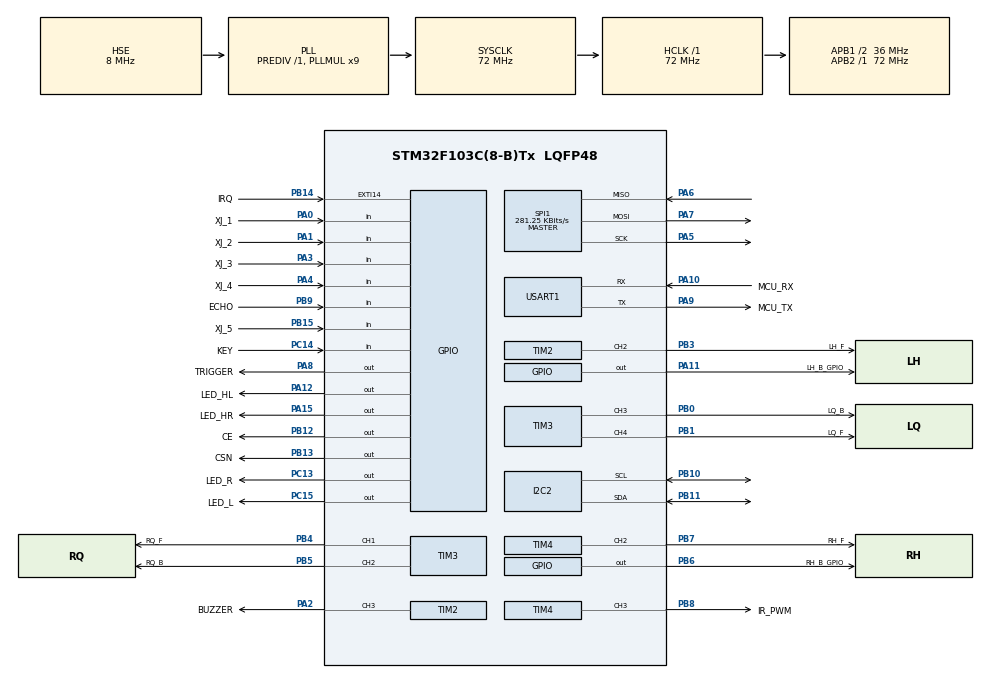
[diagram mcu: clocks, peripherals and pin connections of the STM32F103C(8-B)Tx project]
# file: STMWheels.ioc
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FREERTOS.Queues01=Barrierdistance,1,uint16_t,0,Dynamic,NULL,NULL;TrackingStatus,5,uint16_t,0,Dynamic,NULL,NULL
FREERTOS.Tasks01=CommandTask,0,128,StartCommandTask,Default,NULL,Dynamic,NULL,NULL;ChassisTask,-3,128,StartChassisTask,Default,NULL,Dynamic,NULL,NULL;SensorTask,-3,128,StartSensorTask,Default,NULL,Dynamic,NULL,NULL
Mcu.Family=STM32F1
Mcu.Name=STM32F103C(8-B)Tx
Mcu.Package=LQFP48
NVIC.PriorityGroup=NVIC_PRIORITYGROUP_4
NVIC.TIM1_UP_IRQn=true\:15\:0\:false\:false\:true\:false\:false\:true\:true
NVIC.TimeBase=TIM1_UP_IRQn
NVIC.TimeBaseIP=TIM1
PA0-WKUP.GPIO_Label=XJ_1
PA0-WKUP.Signal=GPIO_Input
PA1.GPIO_Label=XJ_2
PA1.Signal=GPIO_Input
PA10.GPIO_Label=MCU_RX
PA10.Mode=Asynchronous
PA10.Signal=USART1_RX
PA11.GPIO_Label=LH_B_GPIO
PA11.Signal=GPIO_Output
PA12.GPIO_Label=LED_HL
PA12.Signal=GPIO_Output
PA13.Mode=Serial_Wire
PA13.Signal=SYS_JTMS-SWDIO
PA14.Mode=Serial_Wire
PA14.Signal=SYS_JTCK-SWCLK
PA15.GPIO_Label=LED_HR
PA15.Signal=GPIO_Output
PA2.GPIO_Label=BUZZER
PA2.GPIO_Speed=GPIO_SPEED_FREQ_HIGH
PA2.Signal=S_TIM2_CH3
PA3.GPIO_Label=XJ_3
PA3.Signal=GPIO_Input
PA4.GPIO_Label=XJ_4
PA4.Signal=GPIO_Input
PA5.Mode=Full_Duplex_Master
PA5.Signal=SPI1_SCK
PA6.Mode=Full_Duplex_Master
PA6.Signal=SPI1_MISO
PA7.Mode=Full_Duplex_Master
PA7.Signal=SPI1_MOSI
PA8.GPIO_Label=TRIGGER
PA8.Signal=GPIO_Output
PA9.GPIO_Label=MCU_TX
PA9.Mode=Asynchronous
PA9.Signal=USART1_TX
PB0.GPIO_Label=LQ_B
PB0.Signal=S_TIM3_CH3
PB1.GPIO_Label=LQ_F
PB1.Signal=S_TIM3_CH4
PB10.Mode=I2C
PB10.Signal=I2C2_SCL
PB11.Mode=I2C
PB11.Signal=I2C2_SDA
PB12.GPIO_Label=CE
PB12.Signal=GPIO_Output
PB13.GPIO_Label=CSN
PB13.Signal=GPIO_Output
PB14.GPIO_Label=IRQ
PB14.Signal=GPXTI14
PB15.GPIO_Label=XJ_5
PB15.Signal=GPIO_Input
PB3.GPIO_Label=LH_F
PB3.Signal=S_TIM2_CH2
PB4.GPIO_Label=RQ_F
PB4.Signal=S_TIM3_CH1
PB5.GPIO_Label=RQ_B
PB5.Signal=S_TIM3_CH2
PB6.GPIO_Label=RH_B_GPIO
PB6.Signal=GPIO_Output
PB7.GPIO_Label=RH_F
PB7.Signal=S_TIM4_CH2
PB8.GPIO_Label=IR_PWM
PB8.Signal=S_TIM4_CH3
PB9.GPIO_Label=ECHO
PB9.Signal=GPIO_Input
PC13-TAMPER-RTC.GPIO_Label=LED_R
PC13-TAMPER-RTC.Signal=GPIO_Output
PC14-OSC32_IN.GPIO_Label=KEY
PC14-OSC32_IN.GPIO_PuPd=GPIO_PULLUP
PC14-OSC32_IN.Signal=GPIO_Input
PC15-OSC32_OUT.GPIO_Label=LED_L
PC15-OSC32_OUT.Signal=GPIO_Output
PD0-OSC_IN.Mode=HSE-External-Oscillator
PD0-OSC_IN.Signal=RCC_OSC_IN
PD1-OSC_OUT.Mode=HSE-External-Oscillator
PD1-OSC_OUT.Signal=RCC_OSC_OUT
ProjectManager.HeapSize=0x200
ProjectManager.StackSize=0x400
ProjectManager.TargetToolchain=CMake
RCC.AHBFreq_Value=72000000
RCC.APB1CLKDivider=RCC_HCLK_DIV2
RCC.APB1Freq_Value=36000000
RCC.APB1TimFreq_Value=72000000
RCC.APB2Freq_Value=72000000
RCC.APB2TimFreq_Value=72000000
RCC.HCLKFreq_Value=72000000
RCC.PLLMUL=RCC_PLL_MUL9
RCC.PLLSourceVirtual=RCC_PLLSOURCE_HSE
RCC.SYSCLKFreq_VALUE=72000000
RCC.SYSCLKSource=RCC_SYSCLKSOURCE_PLLCLK
RCC.USBFreq_Value=72000000
SH.S_TIM2_CH2.0=TIM2_CH2,PWM Generation2 CH2
SH.S_TIM2_CH3.0=TIM2_CH3,PWM Generation3 CH3
SH.S_TIM3_CH1.0=TIM3_CH1,PWM Generation1 CH1
SH.S_TIM3_CH2.0=TIM3_CH2,PWM Generation2 CH2
SH.S_TIM3_CH3.0=TIM3_CH3,PWM Generation3 CH3
SH.S_TIM3_CH4.0=TIM3_CH4,PWM Generation4 CH4
SH.S_TIM4_CH2.0=TIM4_CH2,PWM Generation2 CH2
SH.S_TIM4_CH3.0=TIM4_CH3,PWM Generation3 CH3
SPI1.BaudRatePrescaler=SPI_BAUDRATEPRESCALER_256
SPI1.CalculateBaudRate=281.25 KBits/s
SPI1.Direction=SPI_DIRECTION_2LINES
SPI1.Mode=SPI_MODE_MASTER
SPI1.VirtualType=VM_MASTER
TIM2.Channel-PWM\ Generation2\ CH2=TIM_CHANNEL_2
TIM2.Channel-PWM\ Generation3\ CH3=TIM_CHANNEL_3
TIM3.Channel-PWM\ Generation1\ CH1=TIM_CHANNEL_1
TIM3.Channel-PWM\ Generation2\ CH2=TIM_CHANNEL_2
TIM3.Channel-PWM\ Generation3\ CH3=TIM_CHANNEL_3
TIM3.Channel-PWM\ Generation4\ CH4=TIM_CHANNEL_4
TIM4.Channel-PWM\ Generation2\ CH2=TIM_CHANNEL_2
TIM4.Channel-PWM\ Generation3\ CH3=TIM_CHANNEL_3
USART1.VirtualMode=VM_ASYNC
VP_FREERTOS_VS_CMSIS_V1.Mode=CMSIS_V1
VP_SYS_VS_tim1.Mode=TIM1
board=custom

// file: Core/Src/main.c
/* USER CODE BEGIN Header */
/**
  ******************************************************************************
  * @file           : main.c
  * @brief          : Main program body
  ******************************************************************************
  * @attention
  *
  * Copyright (c) 2026 STMicroelectronics.
  * All rights reserved.
  *
  * This software is licensed under terms that can be found in the LICENSE file
  * in the root directory of this software component.
  * If no LICENSE file comes with this software, it is provided AS-IS.
  *
  ******************************************************************************
  */
/* USER CODE END Header */
#include "main.h"
#include "cmsis_os.h"
#include "i2c.h"
#include "spi.h"
#include "tim.h"
#include "usart.h"
#include "gpio.h"

/* USER CODE BEGIN Includes */
#include "RZ7899.h"
#include "CarConfig.h"
/* USER CODE END Includes */

/* USER CODE BEGIN PV */
RZ7899_Handle hMotorLF;
RZ7899_Handle hMotorRF;
RZ7899_Handle hMotorLR;
RZ7899_Handle hMotorRR;
/* USER CODE END PV */

void SystemClock_Config(void);
void MX_FREERTOS_Init(void);

int main(void)
{

  /* MCU Configuration--------------------------------------------------------*/

  /* Reset of all peripherals, Initializes the Flash interface and the Systick. */
  HAL_Init();

  /* Configure the system clock */
  SystemClock_Config();

  /* Initialize all configured peripherals */
  MX_GPIO_Init();
  MX_I2C2_Init();
  MX_SPI1_Init();
  MX_TIM2_Init();
  MX_TIM3_Init();
  MX_TIM4_Init();
  MX_USART1_UART_Init();
  /* USER CODE BEGIN 2 */
  hMotorLF.Config.IN1_Port = LQ_F_GPIO_Port;
  hMotorLF.Config.IN1_Pin = LQ_F_Pin;
  hMotorLF.Config.IN2_Port = LQ_B_GPIO_Port;
  hMotorLF.Config.IN2_Pin = LQ_B_Pin;
  hMotorLF.Config.PwmPin = RZ7899_PWM_BOTH;
  hMotorLF.Config.htim = &htim3;
  hMotorLF.Config.PwmChannel = TIM_CHANNEL_4;
  hMotorLF.Config.PwmChannel2 = TIM_CHANNEL_3;

  hMotorRF.Config.IN1_Port = RQ_F_GPIO_Port;
  hMotorRF.Config.IN1_Pin = RQ_F_Pin;
  hMotorRF.Config.IN2_Port = RQ_B_GPIO_Port;
  hMotorRF.Config.IN2_Pin = RQ_B_Pin;
  hMotorRF.Config.PwmPin = RZ7899_PWM_BOTH;
  hMotorRF.Config.htim = &htim3;
  hMotorRF.Config.PwmChannel = TIM_CHANNEL_1;
  hMotorRF.Config.PwmChannel2 = TIM_CHANNEL_2;

  hMotorLR.Config.IN1_Port = LH_F_GPIO_Port;
  hMotorLR.Config.IN1_Pin = LH_F_Pin;
  hMotorLR.Config.IN2_Port = RH_B_GPIO_GPIO_Port;
  hMotorLR.Config.IN2_Pin = RH_B_GPIO_Pin;
  hMotorLR.Config.PwmPin = RZ7899_PWM_IN1;
  hMotorLR.Config.htim = &htim2;
  hMotorLR.Config.PwmChannel = TIM_CHANNEL_2;

  hMotorRR.Config.IN1_Port = RH_F_GPIO_Port;
  hMotorRR.Config.IN1_Pin = RH_F_Pin;
  hMotorRR.Config.IN2_Port = LH_B_GPIO_GPIO_Port;
  hMotorRR.Config.IN2_Pin = LH_B_GPIO_Pin;
  hMotorRR.Config.PwmPin = RZ7899_PWM_IN1;
  hMotorRR.Config.htim = &htim4;
  hMotorRR.Config.PwmChannel = TIM_CHANNEL_2;

  RZ7899_Init(&hMotorLF);
  RZ7899_Init(&hMotorRF);
  RZ7899_Init(&hMotorLR);
  RZ7899_Init(&hMotorRR);

  HAL_TIM_PWM_Start(&htim4, TIM_CHANNEL_3);
  __HAL_TIM_SET_COMPARE(&htim4, TIM_CHANNEL_3, IR_PWM_PULSE);

  /*
   * PA2 (BUZZER) 在 MX_TIM2_Init 中被配置为 AF_PP (TIM2_CH3)。
   * 此处重配为 GPIO 输出，HIGH 速度确保 SS8050 开关边沿陡峭 →
   * 减少线性区时间 → 更大音量 + 更清晰音色。
   */
  {
    GPIO_InitTypeDef GPIO_Init = {0};
    GPIO_Init.Mode  = GPIO_MODE_OUTPUT_PP;
    GPIO_Init.Speed = GPIO_SPEED_FREQ_HIGH;
    GPIO_Init.Pin   = BUZZER_Pin;
    HAL_GPIO_Init(BUZZER_GPIO_Port, &GPIO_Init);
    HAL_GPIO_WritePin(BUZZER_GPIO_Port, BUZZER_Pin, GPIO_PIN_RESET);
  }

  /* DWT 周期计数器使能 (微秒级定时, 供 SR04 / 蜂鸣器使用) */
  if (!(CoreDebug->DEMCR & CoreDebug_DEMCR_TRCENA_Msk))
  {
    CoreDebug->DEMCR |= CoreDebug_DEMCR_TRCENA_Msk;
    DWT->CYCCNT = 0;
    DWT->CTRL   |= DWT_CTRL_CYCCNTENA_Msk;
  }
  /* USER CODE END 2 */

  /* Call init function for freertos objects (in cmsis_os2.c) */
  MX_FREERTOS_Init();

  /* Start scheduler */
  osKernelStart();

  /* We should never get here as control is now taken by the scheduler */

  /* Infinite loop */
  while (1)
  {

  }
}

void SystemClock_Config(void)
{
  RCC_OscInitTypeDef RCC_OscInitStruct = {0};
  RCC_ClkInitTypeDef RCC_ClkInitStruct = {0};

  /** Initializes the RCC Oscillators according to the specified parameters
  * in the RCC_OscInitTypeDef structure.
  */
  RCC_OscInitStruct.OscillatorType = RCC_OSCILLATORTYPE_HSE;
  RCC_OscInitStruct.HSEState = RCC_HSE_ON;
  RCC_OscInitStruct.HSEPredivValue = RCC_HSE_PREDIV_DIV1;
  RCC_OscInitStruct.HSIState = RCC_HSI_ON;
  RCC_OscInitStruct.PLL.PLLState = RCC_PLL_ON;
  RCC_OscInitStruct.PLL.PLLSource = RCC_PLLSOURCE_HSE;
  RCC_OscInitStruct.PLL.PLLMUL = RCC_PLL_MUL9;
  if (HAL_RCC_OscConfig(&RCC_OscInitStruct) != HAL_OK)
  {
    Error_Handler();
  }

  /** Initializes the CPU, AHB and APB buses clocks
  */
  RCC_ClkInitStruct.ClockType = RCC_CLOCKTYPE_HCLK|RCC_CLOCKTYPE_SYSCLK
                              |RCC_CLOCKTYPE_PCLK1|RCC_CLOCKTYPE_PCLK2;
  RCC_ClkInitStruct.SYSCLKSource = RCC_SYSCLKSOURCE_PLLCLK;
  RCC_ClkInitStruct.AHBCLKDivider = RCC_SYSCLK_DIV1;
  RCC_ClkInitStruct.APB1CLKDivider = RCC_HCLK_DIV2;
  RCC_ClkInitStruct.APB2CLKDivider = RCC_HCLK_DIV1;

  if (HAL_RCC_ClockConfig(&RCC_ClkInitStruct, FLASH_LATENCY_2) != HAL_OK)
  {
    Error_Handler();
  }
}

void HAL_TIM_PeriodElapsedCallback(TIM_HandleTypeDef *htim)
{
  if (htim->Instance == TIM1)
  {
    HAL_IncTick();
  }
}

void Error_Handler(void)
{
  __disable_irq();
  while (1)
  {
  }
}

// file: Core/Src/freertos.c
/* USER CODE BEGIN Header */
/**
  ******************************************************************************
  * File Name          : freertos.c
  * Description        : Code for freertos applications
  ******************************************************************************
  * @attention
  *
  * Copyright (c) 2026 STMicroelectronics.
  * All rights reserved.
  *
  * This software is licensed under terms that can be found in the LICENSE file
  * in the root directory of this software component.
  * If no LICENSE file comes with this software, it is provided AS-IS.
  *
  ******************************************************************************
  */
/* USER CODE END Header */

#include "FreeRTOS.h"
#include "task.h"
#include "main.h"
#include "cmsis_os.h"

/* USER CODE BEGIN Includes */
#include "RZ7899.h"
#include "CarConfig.h"
#include "oled_ssd1306.h"
/* USER CODE END Includes */

/* USER CODE BEGIN PTD */
typedef struct {
    uint16_t freq;     /* 音符频率 (Hz), 0 = 休止符 */
    uint16_t dur_ms;   /* 音符时长 (ms)             */
} MelodyNote;
/* USER CODE END PTD */

/* USER CODE BEGIN PD */
#define MELODY_NOTE_COUNT 42
/* USER CODE END PD */

/* USER CODE BEGIN Variables */
extern RZ7899_Handle hMotorLF;
extern RZ7899_Handle hMotorRF;
extern RZ7899_Handle hMotorLR;
extern RZ7899_Handle hMotorRR;
extern TIM_HandleTypeDef htim4;   /* 供 Calib_SetPWM 使用 */
extern I2C_HandleTypeDef hi2c2;   /* 供 OLED 使用            */

typedef enum {
    STATE_DISABLED = 0,
    STATE_CALIBRATING,    /* 上电自校准                        */
    STATE_CAL_FAILED,     /* 校准失败 → LED 频闪               */
    STATE_ENABLED
} SystemState;

typedef enum {
    DRIVE_STOP = 0,
    DRIVE_FORWARD,
    DRIVE_LEFT,
    DRIVE_RIGHT
} DriveDirection;

/* CommandTask → ChassisTask 驱动指令 (单次写入, 仅 ChassisTask 读取) */
typedef struct {
    DriveDirection dir;
    uint8_t lfSpeed, lrSpeed, rfSpeed, rrSpeed;
} DriveCommand;

volatile SystemState  g_SystemEnabled   = STATE_DISABLED;
volatile DriveCommand g_DriveCmd        = {DRIVE_STOP, 0, 0, 0, 0};
volatile uint16_t     g_BarrierDistance = 0;
volatile uint16_t     g_TrackSensors    = 0;  /* 最新循迹位图 (供 OLED) */
volatile uint32_t     g_RunTimeSec      = 0;  /* 运行秒数 (供 OLED 看门狗) */

/* IR 循迹自校准运行时变量 (仅 CommandTask 访问) */
volatile uint16_t     g_CalibPulse;       /* 当前校准 PWM           */
volatile uint8_t      g_CalibFailed;      /* 校准失败标志 (1=失败)   */

/* 兰花草乐谱 (定义见 Application 区) */
extern const MelodyNote MELODY_LANHUACAO[MELODY_NOTE_COUNT];
/* USER CODE END Variables */
osThreadId CommandTaskHandle;
osThreadId ChassisTaskHandle;
osThreadId SensorTaskHandle;
osMessageQId BarrierdistanceHandle;
osMessageQId TrackingStatusHandle;

/* USER CODE BEGIN FunctionPrototypes */
static void TrackStop(void);
static void TrackDrive(uint8_t lfSpeed, uint8_t lrSpeed,
                        uint8_t rfSpeed, uint8_t rrSpeed);
static uint8_t  ButtonPressed(void);
static uint16_t SR04_Measure(void);
static void     DWT_DelayUs(uint32_t us);
static uint32_t DWT_GetUs(void);
static void     Calib_SetPWM(uint16_t pulse);
static uint8_t  Calib_ReadMidSensors(void);
static uint8_t  Calib_ReadAllSensors(void);
/* USER CODE END FunctionPrototypes */

void StartCommandTask(void const * argument);
void StartChassisTask(void const * argument);
void StartSensorTask(void const * argument);

void MX_FREERTOS_Init(void); /* (MISRA C 2004 rule 8.1) */

/* GetIdleTaskMemory prototype (linked to static allocation support) */
void vApplicationGetIdleTaskMemory( StaticTask_t **ppxIdleTaskTCBBuffer, StackType_t **ppxIdleTaskStackBuffer, uint32_t *pulIdleTaskStackSize );

/* USER CODE BEGIN GET_IDLE_TASK_MEMORY */
static StaticTask_t xIdleTaskTCBBuffer;
static StackType_t xIdleStack[configMINIMAL_STACK_SIZE];

void vApplicationGetIdleTaskMemory( StaticTask_t **ppxIdleTaskTCBBuffer, StackType_t **ppxIdleTaskStackBuffer, uint32_t *pulIdleTaskStackSize )
{
  *ppxIdleTaskTCBBuffer = &xIdleTaskTCBBuffer;
  *ppxIdleTaskStackBuffer = &xIdleStack[0];
  *pulIdleTaskStackSize = configMINIMAL_STACK_SIZE;
  /* place for user code */
}
/* USER CODE END GET_IDLE_TASK_MEMORY */

void MX_FREERTOS_Init(void) {

  /* Create the queue(s) */
  /* definition and creation of Barrierdistance */
  osMessageQDef(Barrierdistance, 1, uint16_t);
  BarrierdistanceHandle = osMessageCreate(osMessageQ(Barrierdistance), NULL);

  /* definition and creation of TrackingStatus */
  osMessageQDef(TrackingStatus, 5, uint16_t);
  TrackingStatusHandle = osMessageCreate(osMessageQ(TrackingStatus), NULL);

  /* Create the thread(s) */
  /* definition and creation of CommandTask */
  osThreadDef(CommandTask, StartCommandTask, osPriorityNormal, 0, 128);
  CommandTaskHandle = osThreadCreate(osThread(CommandTask), NULL);

  /* definition and creation of ChassisTask */
  osThreadDef(ChassisTask, StartChassisTask, osPriorityIdle, 0, 128);
  ChassisTaskHandle = osThreadCreate(osThread(ChassisTask), NULL);

  /* definition and creation of SensorTask */
  osThreadDef(SensorTask, StartSensorTask, osPriorityIdle, 0, 128);
  SensorTaskHandle = osThreadCreate(osThread(SensorTask), NULL);

}

void StartCommandTask(void const * argument)
{
  /* USER CODE BEGIN StartCommandTask */

  /*
   * CommandTask — 全局状态机 (唯一决策者)
   *   状态: DISABLED → CALIBRATING → (CAL_FAILED) → ENABLED
   *   严禁直接操作硬件 (电机 / LED / 蜂鸣器)
   */
  uint16_t sensor;

  g_SystemEnabled = STATE_DISABLED;

  for(;;)
  {
    switch (g_SystemEnabled)
    {
    /* =========================================================== */
    /*  系统关闭: 等待按键                                          */
    /* =========================================================== */
    case STATE_DISABLED:
      g_DriveCmd.dir = DRIVE_STOP;
      g_BarrierDistance = 0;
      g_CalibFailed = 0;
      if (ButtonPressed())
        g_SystemEnabled = STATE_CALIBRATING;
      osDelay(20);
      break;

    /* =========================================================== */
    /*  上电自校准: IR 阈值搜索 (上限 → 下限 → 均值)               */
    /* =========================================================== */
    case STATE_CALIBRATING:
      {
        uint32_t upCoarse, upFine;     /* 上限: ≥1 中间 HIGH    */
        uint32_t loCoarse, loFine;     /* 下限: 全部 5 路 HIGH    */
        uint32_t scanHi, scanLo;

        g_CalibPulse = 65535;
        Calib_SetPWM(g_CalibPulse);
        g_DriveCmd.dir = DRIVE_STOP;

        /* ===================================================== */
        /*  Phase 1: 找上限 (≥1 中间传感器稳定 HIGH)             */
        /* ===================================================== */
        upCoarse = 0;
        while (g_CalibPulse >= CALIB_MIN_PULSE)
        {
          osDelay(CALIB_COARSE_MS);
          if (Calib_ReadMidSensors())
          {
            upCoarse = g_CalibPulse;
            break;
          }
          if (g_CalibPulse < CALIB_COARSE_STEP + CALIB_MIN_PULSE) break;
          g_CalibPulse -= CALIB_COARSE_STEP;
          Calib_SetPWM(g_CalibPulse);
        }
        if (upCoarse == 0) goto calib_fail;  /* 全程无信号 */

        /* 上限精扫: 在 [upCoarse+5%, upCoarse-5%] 间以 1% 步长 */
        scanHi = (upCoarse + CALIB_COARSE_STEP <= 65535)
                  ? upCoarse + CALIB_COARSE_STEP : 65535;
        scanLo = (upCoarse >= CALIB_COARSE_STEP + CALIB_MIN_PULSE)
                  ? upCoarse - CALIB_COARSE_STEP : CALIB_MIN_PULSE;
        upFine = upCoarse;  /* fallback */
        g_CalibPulse = (uint16_t)scanHi;
        while (g_CalibPulse >= scanLo)
        {
          Calib_SetPWM(g_CalibPulse);
          osDelay(CALIB_FINE_MS);
          if (Calib_ReadMidSensors())
          {
            upFine = g_CalibPulse;
            break;
          }
          if (g_CalibPulse < CALIB_FINE_STEP) break;
          g_CalibPulse -= CALIB_FINE_STEP;
        }

        /* ===================================================== */
        /*  Phase 2: 找下限 (全部 5 路传感器稳定 HIGH)             */
        /*  从上限值继续向下扫描                                   */
        /* ===================================================== */
        loCoarse = 0;
        g_CalibPulse = (uint16_t)(upFine > CALIB_COARSE_STEP
                                   ? upFine - CALIB_COARSE_STEP
                                   : CALIB_MIN_PULSE);
        while (g_CalibPulse >= CALIB_MIN_PULSE)
        {
          Calib_SetPWM(g_CalibPulse);
          osDelay(CALIB_COARSE_MS);
          if (Calib_ReadAllSensors())
          {
            loCoarse = g_CalibPulse;
            break;
          }
          if (g_CalibPulse < CALIB_COARSE_STEP + CALIB_MIN_PULSE) break;
          g_CalibPulse -= CALIB_COARSE_STEP;
        }

        if (loCoarse > 0)
        {
          /* 下限精扫 */
          scanHi = (loCoarse + CALIB_COARSE_STEP <= 65535)
                    ? loCoarse + CALIB_COARSE_STEP : 65535;
          scanLo = (loCoarse >= CALIB_COARSE_STEP + CALIB_MIN_PULSE)
                    ? loCoarse - CALIB_COARSE_STEP : CALIB_MIN_PULSE;
          loFine = loCoarse;
          g_CalibPulse = (uint16_t)scanHi;
          while (g_CalibPulse >= scanLo)
          {
            Calib_SetPWM(g_CalibPulse);
            osDelay(CALIB_FINE_MS);
            if (Calib_ReadAllSensors())
            {
              loFine = g_CalibPulse;
              break;
            }
            if (g_CalibPulse < CALIB_FINE_STEP) break;
            g_CalibPulse -= CALIB_FINE_STEP;
          }
        }
        else
        {
          /* 下限未命中: 用最低值作为下限 */
          loFine = CALIB_MIN_PULSE;
        }

        /* ===================================================== */
        /*  Phase 3: 取均值作为最终阈值                           */
        /* ===================================================== */
        {
          uint32_t avg = (upFine + loFine) / 2;
          g_CalibPulse = (uint16_t)avg;
          Calib_SetPWM(g_CalibPulse);
        }
        g_SystemEnabled = STATE_ENABLED;
        break;

calib_fail:
        g_CalibFailed = 1;
        g_SystemEnabled = STATE_CAL_FAILED;
        break;
      }

    /* =========================================================== */
    /*  校准失败: LED 1Hz 频闪 (执行在 ChassisTask)                  */
    /* =========================================================== */
    case STATE_CAL_FAILED:
      g_DriveCmd.dir = DRIVE_STOP;
      if (ButtonPressed())
      {
        g_CalibFailed = 0;
        g_SystemEnabled = STATE_CALIBRATING;  /* 重新校准 */
      }
      osDelay(20);
      break;

    /* =========================================================== */
    /*  系统运行: 循迹 + 避障                                       */
    /* =========================================================== */
    case STATE_ENABLED:
      {
        osEvent evt;

        /* ① 非阻塞消费超声波数据 */
        evt = osMessageGet(BarrierdistanceHandle, 0);
        if (evt.status == osEventMessage)
        {
          g_BarrierDistance = (uint16_t)evt.value.v;
        }

        /* ② 非阻塞消费循迹数据 */
        evt = osMessageGet(TrackingStatusHandle, 0);
        if (evt.status == osEventMessage)
        {
          sensor = (uint16_t)evt.value.v & 0x1F;
          g_TrackSensors = sensor;  /* 快照供 OLED 显示 */

          int8_t error = 0;
          if (sensor & SENSOR_L2_MASK) error -= 2;
          if (sensor & SENSOR_L1_MASK) error -= 1;
          if (sensor & SENSOR_R1_MASK) error += 1;
          if (sensor & SENSOR_R2_MASK) error += 2;

          /*
           * 多级差速转向 (4 级, 含 2 级直行死区)
           *
           *   |error|=0: FORWARD, 内外同速 20          (居中)
           *   |error|=1: FORWARD, 内侧 17 / 外侧 20    (微调, 仍直行)
           *   |error|=2: LEFT/RIGHT, 内侧 10 / 外侧 20 (中度转向)
           *   |error|=3: LEFT/RIGHT, 内侧  2 / 外侧 20 (急转)
           *
           *   后轮 = 前轮 × REAR_RATIO / 100
           *   |error|≤1 归为 FORWARD → 直行状态占比显著增大
           */
          if (sensor == 0x00)
          {
            g_DriveCmd.dir = DRIVE_FORWARD;
            g_DriveCmd.lfSpeed = g_DriveCmd.lrSpeed = TRACK_LOST_SPEED;
            g_DriveCmd.rfSpeed = g_DriveCmd.rrSpeed = TRACK_LOST_SPEED;
          }
          else
          {
            uint8_t absE = (error < 0) ? (uint8_t)(-error)
                                       : (uint8_t)error;
            uint8_t innerF;  /* 内侧前轮 */
            uint8_t outerF;  /* 外侧前轮 */

            if      (absE == 0) { innerF = TRACK_BASE_SPEED;             outerF = TRACK_BASE_SPEED; }
            else if (absE == 1) { innerF = TRACK_BASE_SPEED * 85 / 100; outerF = TRACK_BASE_SPEED; }
            else if (absE == 2) { innerF = TRACK_BASE_SPEED * 50 / 100; outerF = TRACK_BASE_SPEED; }
            else                { innerF = TRACK_BASE_SPEED * 10 / 100; outerF = TRACK_BASE_SPEED; }

            /* 方向: |error|≤1 → 直行; |error|≥2 → 转向 */
            if (absE <= 1)
              g_DriveCmd.dir = DRIVE_FORWARD;
            else
              g_DriveCmd.dir = (error < 0) ? DRIVE_LEFT : DRIVE_RIGHT;

            /* 分配左右: error≤0 → 线偏左, 左侧为内轮 */
            if (error <= 0) {
              g_DriveCmd.lfSpeed = innerF; g_DriveCmd.rfSpeed = outerF;
            } else {
              g_DriveCmd.lfSpeed = outerF; g_DriveCmd.rfSpeed = innerF;
            }
            g_DriveCmd.lrSpeed = (uint8_t)((uint32_t)g_DriveCmd.lfSpeed
                                           * TRACK_REAR_RATIO / 100);
            g_DriveCmd.rrSpeed = (uint8_t)((uint32_t)g_DriveCmd.rfSpeed
                                           * TRACK_REAR_RATIO / 100);
          }
        }

        /* ③ 避障优先: 覆盖为停车 */
        if (g_BarrierDistance > 0
            && g_BarrierDistance <= OBSTACLE_STOP_CM)
        {
          g_DriveCmd.dir      = DRIVE_STOP;
          g_DriveCmd.lfSpeed  = 0;
          g_DriveCmd.lrSpeed  = 0;
          g_DriveCmd.rfSpeed  = 0;
          g_DriveCmd.rrSpeed  = 0;
        }
      }

      if (ButtonPressed())
      {
        g_DriveCmd.dir = DRIVE_STOP;
        g_SystemEnabled = STATE_DISABLED;
      }
      osDelay(10);
      break;
    }
  }
  /* USER CODE END StartCommandTask */
}

void StartChassisTask(void const * argument)
{
  /* USER CODE BEGIN StartChassisTask */

  /*
   * ChassisTask — 纯执行层 (严禁决策)
   *   输入: g_DriveCmd (由 CommandTask 写入), g_SystemEnabled
   *   执行: 电机 / LED / 蜂鸣器 / OLED 显示
   */
  DriveCommand  lastCmd = {DRIVE_STOP, 0, 0, 0, 0};
  static uint8_t  melodyIdx = 0;
  static uint32_t melodyElapsedUs = 0;
  static uint8_t  oledInited = 0;
  static uint32_t lastSecTick = 0;    /* 秒计时基准 (ms)       */
  static uint32_t runSec      = 0;    /* 运行秒数累加器         */

  /* OLED 初始化 (仅一次, 含 I2C 恢复) */
  if (!oledInited) {
    OLED_Init(&hi2c2);
    oledInited = 1;
    lastSecTick = DWT_GetUs() / 1000;
  }

  for(;;)
  {
    /* ---- 运行计时 (每 1000ms 自增, 供 OLED 看门狗) ---- */
    {
      uint32_t now = DWT_GetUs() / 1000;
      if (now - lastSecTick >= 1000) {
        runSec++;
        lastSecTick = now;
        g_RunTimeSec = runSec;
      }
    }

    /* ---- OLED 显示: 全局即时刷新 (不受系统状态限制) ---- */
    OLED_ShowStatus((uint8_t)g_SystemEnabled,
                    g_TrackSensors,
                    g_BarrierDistance,
                    g_CalibPulse,
                    g_CalibFailed,
                    runSec);

    /* ---- 非运行态: 全停 + 复位 ---- */
    if (g_SystemEnabled != STATE_ENABLED)
    {
      if (lastCmd.dir != DRIVE_STOP) TrackStop();

      /* CAL_FAILED → LED 1Hz 频闪; 其他非运行态 → 全灭 */
      if (g_SystemEnabled == STATE_CAL_FAILED)
      {
        uint32_t phase = (DWT_GetUs() / 1000) % 1000;  /* 0-999ms */
        uint8_t  on    = (phase < 500);                  /* 500ms 亮/灭 */
        HAL_GPIO_WritePin(LED_R_GPIO_Port,  LED_R_Pin,  on ? GPIO_PIN_SET : GPIO_PIN_RESET);
        HAL_GPIO_WritePin(LED_L_GPIO_Port,  LED_L_Pin,  on ? GPIO_PIN_SET : GPIO_PIN_RESET);
        HAL_GPIO_WritePin(LED_HR_GPIO_Port, LED_HR_Pin, on ? GPIO_PIN_SET : GPIO_PIN_RESET);
        HAL_GPIO_WritePin(LED_HL_GPIO_Port, LED_HL_Pin, on ? GPIO_PIN_SET : GPIO_PIN_RESET);
      }
      else
      {
        HAL_GPIO_WritePin(LED_R_GPIO_Port,  LED_R_Pin,  GPIO_PIN_RESET);
        HAL_GPIO_WritePin(LED_L_GPIO_Port,  LED_L_Pin,  GPIO_PIN_RESET);
        HAL_GPIO_WritePin(LED_HR_GPIO_Port, LED_HR_Pin, GPIO_PIN_RESET);
        HAL_GPIO_WritePin(LED_HL_GPIO_Port, LED_HL_Pin, GPIO_PIN_RESET);
      }

      HAL_GPIO_WritePin(BUZZER_GPIO_Port, BUZZER_Pin, GPIO_PIN_RESET);
      lastCmd.dir = DRIVE_STOP;
      melodyIdx = 0;
      melodyElapsedUs = 0;
      osDelay(20);
      continue;
    }

    /*
     * ---- 电机: 单次快照 + 按需更新 ----
     *
     * 关键: 拷贝 g_DriveCmd 到本地变量后再比较和执行,
     * 避免 TOCTOU 竞态 (比较时读到旧值, 执行时已是新值)。
     * 中间传感器 M=1 时方向切换频繁, 此修复尤为关键。
     */
    DriveCommand cmd;
    cmd.dir      = g_DriveCmd.dir;
    cmd.lfSpeed  = g_DriveCmd.lfSpeed;
    cmd.lrSpeed  = g_DriveCmd.lrSpeed;
    cmd.rfSpeed  = g_DriveCmd.rfSpeed;
    cmd.rrSpeed  = g_DriveCmd.rrSpeed;

    if (cmd.dir      != lastCmd.dir      ||
        cmd.lfSpeed  != lastCmd.lfSpeed  ||
        cmd.lrSpeed  != lastCmd.lrSpeed  ||
        cmd.rfSpeed  != lastCmd.rfSpeed  ||
        cmd.rrSpeed  != lastCmd.rrSpeed)
    {
      if (cmd.dir == DRIVE_STOP)
        TrackStop();
      else
        TrackDrive(cmd.lfSpeed, cmd.lrSpeed,
                   cmd.rfSpeed, cmd.rrSpeed);
      lastCmd = cmd;
    }

    /* ---- LED: 方向指示 (使用快照) ---- */
    HAL_GPIO_WritePin(LED_R_GPIO_Port,  LED_R_Pin,
      (cmd.dir == DRIVE_FORWARD || cmd.dir == DRIVE_RIGHT)
      ? GPIO_PIN_SET : GPIO_PIN_RESET);
    HAL_GPIO_WritePin(LED_L_GPIO_Port,  LED_L_Pin,
      (cmd.dir == DRIVE_FORWARD || cmd.dir == DRIVE_LEFT)
      ? GPIO_PIN_SET : GPIO_PIN_RESET);
    HAL_GPIO_WritePin(LED_HR_GPIO_Port, LED_HR_Pin,
      (cmd.dir == DRIVE_RIGHT) ? GPIO_PIN_SET : GPIO_PIN_RESET);
    HAL_GPIO_WritePin(LED_HL_GPIO_Port, LED_HL_Pin,
      (cmd.dir == DRIVE_LEFT)  ? GPIO_PIN_SET : GPIO_PIN_RESET);

    /* ---- 蜂鸣器: 小星星旋律循环, 避障时静音 ---- */
    if (g_BarrierDistance > 0 && g_BarrierDistance <= OBSTACLE_STOP_CM)
    {
      /* 有障碍 → 静音 + 复位旋律 */
      HAL_GPIO_WritePin(BUZZER_GPIO_Port, BUZZER_Pin, GPIO_PIN_RESET);
      melodyIdx = 0;
      melodyElapsedUs = 0;
    }
    else
    {
      const MelodyNote *note = &MELODY_LANHUACAO[melodyIdx];
      uint32_t remain_us = note->dur_ms * 1000UL - melodyElapsedUs;
      uint32_t chunk_us = (remain_us < MELODY_CHUNK_US) ? remain_us
                                                         : MELODY_CHUNK_US;
      uint32_t end_us = DWT_GetUs() + chunk_us;

      if (note->freq > 0)
      {
        /*
         * DWT 周期直接计算半周期 (跳过 µs 换算, 消除两次舍入)
         *   half_ticks = SysClock / (2 × freq)
         *   72MHz 下精度: 440Hz → 81818 ticks (精确 440.00Hz)
         *   SS8050 在 GPIO HIGH 速度下开关边沿 < 50ns, 方波干净
         */
        uint32_t half_ticks = SystemCoreClock / (note->freq * 2UL);
        while (DWT_GetUs() < end_us)
        {
          uint32_t t0 = DWT->CYCCNT;
          HAL_GPIO_WritePin(BUZZER_GPIO_Port, BUZZER_Pin, GPIO_PIN_SET);
          while ((DWT->CYCCNT - t0) < half_ticks);
          t0 = DWT->CYCCNT;
          HAL_GPIO_WritePin(BUZZER_GPIO_Port, BUZZER_Pin, GPIO_PIN_RESET);
          while ((DWT->CYCCNT - t0) < half_ticks);
        }
      }
      else
      {
        while (DWT_GetUs() < end_us);  /* 休止符等待 */
      }

      melodyElapsedUs += chunk_us;
      if (melodyElapsedUs >= note->dur_ms * 1000UL)
      {
        melodyElapsedUs = 0;
        melodyIdx++;
        if (melodyIdx >= MELODY_NOTE_COUNT) melodyIdx = 0;
      }
    }
    HAL_GPIO_WritePin(BUZZER_GPIO_Port, BUZZER_Pin, GPIO_PIN_RESET);

    osDelay(10);
  }
  /* USER CODE END StartChassisTask */
}

void StartSensorTask(void const * argument)
{
  /* USER CODE BEGIN StartSensorTask */

  /*
   * SensorTask — 纯数据采集 (严禁决策 / 执行)
   *   输出: BarrierdistanceHandle (超声波), TrackingStatusHandle (循迹)
   *   DWT 已在 main.c 调度器启动前初始化
   */
  uint16_t sensorData;
  uint16_t distance;

  for(;;)
  {
    /* ---- SR04 超声波测距 ---- */
    distance = SR04_Measure();
    osMessagePut(BarrierdistanceHandle, distance, 0);

    /* ---- 循迹传感器 ---- */
    sensorData = 0;
    if (HAL_GPIO_ReadPin(GPIOB, XJ_5_Pin) == GPIO_PIN_SET)
      sensorData |= SENSOR_L2_MASK;
    if (HAL_GPIO_ReadPin(GPIOA, XJ_4_Pin) == GPIO_PIN_SET)
      sensorData |= SENSOR_L1_MASK;
    if (HAL_GPIO_ReadPin(GPIOA, XJ_3_Pin) == GPIO_PIN_SET)
      sensorData |= SENSOR_M_MASK;
    if (HAL_GPIO_ReadPin(GPIOA, XJ_2_Pin) == GPIO_PIN_SET)
      sensorData |= SENSOR_R1_MASK;
    if (HAL_GPIO_ReadPin(GPIOA, XJ_1_Pin) == GPIO_PIN_SET)
      sensorData |= SENSOR_R2_MASK;
    osMessagePut(TrackingStatusHandle, sensorData, 0);

    osDelay(15);
  }
  /* USER CODE END StartSensorTask */
}

/* USER CODE BEGIN Application */

/*
 * 小星星 (Twinkle Twinkle Little Star) — 蜂鸣器优化版
 *
 * 简谱 (1=C, 4/4):
 * | 1  1  5  5 | 6  6  5  - | 4  4  3  3 | 2  2  1  - |
 * | 5  5  4  4 | 3  3  2  - | 5  5  4  4 | 3  3  2  - |
 * | 1  1  5  5 | 6  6  5  - | 4  4  3  3 | 2  2  1  - ||
 *
 * 音名映射 (C 大调): 1=262 2=294 3=330 4=349 5=392 6=440
 *
 * 时长: 基础节拍 MELODY_TEMPO_MS, 四分音符=1拍
 */
#define Q  MELODY_TEMPO_MS        /* 四分音符 (1 拍)        */
#define H  (MELODY_TEMPO_MS * 2)  /* 二分音符 (2 拍)        */

const MelodyNote MELODY_LANHUACAO[MELODY_NOTE_COUNT] = {
    /* 第 1 行 */
    {262, Q}, {262, Q}, {392, Q}, {392, Q},    /* | 1  1  5  5 | */
    {440, Q}, {440, Q}, {392, H},                /* | 6  6  5  - | */
    {349, Q}, {349, Q}, {330, Q}, {330, Q},     /* | 4  4  3  3 | */
    {294, Q}, {294, Q}, {262, H},                /* | 2  2  1  - | */
    /* 第 2 行 */
    {392, Q}, {392, Q}, {349, Q}, {349, Q},     /* | 5  5  4  4 | */
    {330, Q}, {330, Q}, {294, H},                /* | 3  3  2  - | */
    {392, Q}, {392, Q}, {349, Q}, {349, Q},     /* | 5  5  4  4 | */
    {330, Q}, {330, Q}, {294, H},                /* | 3  3  2  - | */
    /* 第 3 行 (重复第 1 行) */
    {262, Q}, {262, Q}, {392, Q}, {392, Q},     /* | 1  1  5  5 | */
    {440, Q}, {440, Q}, {392, H},                /* | 6  6  5  - | */
    {349, Q}, {349, Q}, {330, Q}, {330, Q},     /* | 4  4  3  3 | */
    {294, Q}, {294, Q}, {262, H},                /* | 2  2  1  - | */
};

#undef H
#undef Q

/* ---- 循迹 IR 自校准辅助函数 ---- */

/* 设置 IR PWM 占空比 (TIM4_CH3) */
static void Calib_SetPWM(uint16_t pulse) {
  __HAL_TIM_SET_COMPARE(&htim4, TIM_CHANNEL_3, pulse);
}

/*
 * 多次采样中间三路传感器 (L1|M|R1), 检查是否有任意一路稳定为 HIGH
 * 返回 1: 至少一路 ≥ CALIB_STABLE_RATIO 次 HIGH (稳定检测到黑线)
 * 返回 0: 全部不满足条件
 */
static uint8_t Calib_ReadMidSensors(void) {
  uint8_t cnt[3] = {0, 0, 0};  /* L1, M, R1 */

  for (uint8_t i = 0; i < CALIB_SAMPLE_COUNT; i++)
  {
    if (HAL_GPIO_ReadPin(GPIOA, XJ_4_Pin) == GPIO_PIN_SET) cnt[0]++;  /* L1 */
    if (HAL_GPIO_ReadPin(GPIOA, XJ_3_Pin) == GPIO_PIN_SET) cnt[1]++;  /* M  */
    if (HAL_GPIO_ReadPin(GPIOA, XJ_2_Pin) == GPIO_PIN_SET) cnt[2]++;  /* R1 */
    DWT_DelayUs(500);  /* 采样间隔 500µs, 共 8 次 ≈ 4ms */
  }

  return (cnt[0] >= CALIB_STABLE_RATIO ||
          cnt[1] >= CALIB_STABLE_RATIO ||
          cnt[2] >= CALIB_STABLE_RATIO);
}

/*
 * 多次采样全部 5 路传感器, 检查是否全部稳定为 HIGH
 * 用于确定下限阈值 (亮度太低 → 白色也被误判为黑线)
 */
static uint8_t Calib_ReadAllSensors(void) {
  uint8_t cnt[5] = {0, 0, 0, 0, 0};  /* L2, L1, M, R1, R2 */

  for (uint8_t i = 0; i < CALIB_SAMPLE_COUNT; i++)
  {
    if (HAL_GPIO_ReadPin(GPIOB, XJ_5_Pin) == GPIO_PIN_SET) cnt[0]++;  /* L2 */
    if (HAL_GPIO_ReadPin(GPIOA, XJ_4_Pin) == GPIO_PIN_SET) cnt[1]++;  /* L1 */
    if (HAL_GPIO_ReadPin(GPIOA, XJ_3_Pin) == GPIO_PIN_SET) cnt[2]++;  /* M  */
    if (HAL_GPIO_ReadPin(GPIOA, XJ_2_Pin) == GPIO_PIN_SET) cnt[3]++;  /* R1 */
    if (HAL_GPIO_ReadPin(GPIOA, XJ_1_Pin) == GPIO_PIN_SET) cnt[4]++;  /* R2 */
    DWT_DelayUs(500);
  }

  /* 全部 5 路均 ≥ STABLE_RATIO */
  return (cnt[0] >= CALIB_STABLE_RATIO &&
          cnt[1] >= CALIB_STABLE_RATIO &&
          cnt[2] >= CALIB_STABLE_RATIO &&
          cnt[3] >= CALIB_STABLE_RATIO &&
          cnt[4] >= CALIB_STABLE_RATIO);
}

/* ---- DWT 微秒级定时工具 (用于 SR04 超声波测距) ---- */
static void DWT_DelayUs(uint32_t us) {
  uint32_t start = DWT->CYCCNT;
  uint32_t ticks = us * (SystemCoreClock / 1000000UL);
  while ((DWT->CYCCNT - start) < ticks);
}

static uint32_t DWT_GetUs(void) {
  return DWT->CYCCNT / (SystemCoreClock / 1000000UL);
}

/* ---- SR04 超声波测距 ---- */
/*
 * TRIG = PA8 (输出), ECHO = PB9 (输入)
 * 时序: TRIG 发 15µs 高脉冲 → 等待 ECHO 高电平 →
 *       测量 ECHO 高电平脉宽 → 距离(cm) = 脉宽(µs) / 58
 * 返回 0 表示超时/无回波
 */
static uint16_t SR04_Measure(void) {
  uint32_t start, timeout;

  /* 1. TRIG 发 15µs 高脉冲 */
  HAL_GPIO_WritePin(TRIGGER_GPIO_Port, TRIGGER_Pin, GPIO_PIN_RESET);
  DWT_DelayUs(2);
  HAL_GPIO_WritePin(TRIGGER_GPIO_Port, TRIGGER_Pin, GPIO_PIN_SET);
  DWT_DelayUs(15);
  HAL_GPIO_WritePin(TRIGGER_GPIO_Port, TRIGGER_Pin, GPIO_PIN_RESET);

  /* 2. 等待 ECHO 上升沿 (带超时) */
  timeout = DWT_GetUs() + SR04_TIMEOUT_US;
  while (HAL_GPIO_ReadPin(ECHO_GPIO_Port, ECHO_Pin) == GPIO_PIN_RESET)
  {
    if (DWT_GetUs() > timeout) return 0;
  }

  /* 3. 测量 ECHO 高电平脉宽 (带超时) */
  start = DWT_GetUs();
  timeout = start + SR04_TIMEOUT_US;
  while (HAL_GPIO_ReadPin(ECHO_GPIO_Port, ECHO_Pin) == GPIO_PIN_SET)
  {
    if (DWT_GetUs() > timeout) return 0;
  }
  uint32_t pulse_us = DWT_GetUs() - start;

  /* 4. 转换为厘米 (声速 340m/s, 往返双程) */
  uint16_t dist_cm = (uint16_t)(pulse_us / 58);

  /* 超量程钳位 */
  if (dist_cm > SR04_MAX_DIST_CM) dist_cm = 0;

  return dist_cm;
}

/*
 * 按键消抖状态机 (非阻塞, 含释放确认)
 *   状态 0: IDLE         → 等待按下
 *   状态 1: DEBOUNCE     → 消抖确认
 *   状态 2: HOLD         → 等待释放
 *   状态 3: DEBOUNCE_UP  → 消抖确认释放 → 回到 IDLE
 *   每次完整按下-释放周期返回 1 (仅一次)
 */
static uint8_t ButtonPressed(void) {
  static uint8_t  btnState = 0;
  static uint32_t btnTimer = 0;
  uint8_t isPressed = (HAL_GPIO_ReadPin(KEY_GPIO_Port, KEY_Pin)
                       == GPIO_PIN_RESET);
  uint32_t now = DWT_GetUs() / 1000;  /* ms */

  switch (btnState)
  {
  case 0:  /* IDLE */
    if (isPressed) { btnTimer = now; btnState = 1; }
    break;

  case 1:  /* 按下消抖 */
    if (now - btnTimer >= KEY_DEBOUNCE_MS)
    {
      if (isPressed) { btnState = 2; return 1; }  /* 确认按下 */
      else           { btnState = 0; }             /* 噪声, 回到 IDLE */
    }
    break;

  case 2:  /* 等待释放 */
    if (!isPressed) { btnTimer = now; btnState = 3; }
    break;

  case 3:  /* 释放消抖 */
    if (now - btnTimer >= KEY_DEBOUNCE_MS)
    {
      if (!isPressed) { btnState = 0; }  /* 确认释放 → IDLE */
      else            { btnState = 2; }  /* 仍按下, 回到 HOLD */
    }
    break;
  }
  return 0;
}

static void TrackStop(void) {
  RZ7899_Stop(&hMotorLF);
  RZ7899_Stop(&hMotorRF);
  RZ7899_Stop(&hMotorLR);
  RZ7899_Stop(&hMotorRR);
}

static void TrackDrive(uint8_t lfSpeed, uint8_t lrSpeed,
                        uint8_t rfSpeed, uint8_t rrSpeed) {
  RZ7899_SetDirection(&hMotorLF, MOTOR_LF_INVERT ? RZ7899_REVERSE : RZ7899_FORWARD);
  RZ7899_SetDirection(&hMotorLR, MOTOR_LR_INVERT ? RZ7899_REVERSE : RZ7899_FORWARD);
  RZ7899_SetDirection(&hMotorRF, MOTOR_RF_INVERT ? RZ7899_REVERSE : RZ7899_FORWARD);
  RZ7899_SetDirection(&hMotorRR, MOTOR_RR_INVERT ? RZ7899_REVERSE : RZ7899_FORWARD);
  RZ7899_SetSpeed(&hMotorLF, lfSpeed);
  RZ7899_SetSpeed(&hMotorLR, lrSpeed);
  RZ7899_SetSpeed(&hMotorRF, rfSpeed);
  RZ7899_SetSpeed(&hMotorRR, rrSpeed);
}
/* USER CODE END Application */
